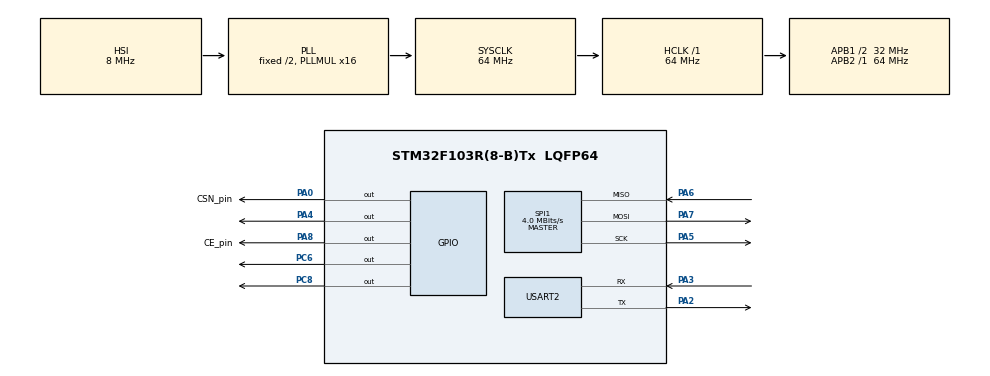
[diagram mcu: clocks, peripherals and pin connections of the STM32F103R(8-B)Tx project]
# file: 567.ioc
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Mcu.Family=STM32F1
Mcu.Name=STM32F103R(8-B)Tx
Mcu.Package=LQFP64
NVIC.PriorityGroup=NVIC_PRIORITYGROUP_4
PA0-WKUP.GPIO_Label=CSN_pin
PA0-WKUP.Signal=GPIO_Output
PA2.Mode=Asynchronous
PA2.Signal=USART2_TX
PA3.Mode=Asynchronous
PA3.Signal=USART2_RX
PA4.Signal=GPIO_Output
PA5.Mode=Full_Duplex_Master
PA5.Signal=SPI1_SCK
PA6.Mode=Full_Duplex_Master
PA6.Signal=SPI1_MISO
PA7.Mode=Full_Duplex_Master
PA7.Signal=SPI1_MOSI
PA8.GPIO_Label=CE_pin
PA8.Signal=GPIO_Output
PC6.Signal=GPIO_Output
PC8.Signal=GPIO_Output
PD0-OSC_IN.Mode=HSE-External-Oscillator
PD0-OSC_IN.Signal=RCC_OSC_IN
PD1-OSC_OUT.Mode=HSE-External-Oscillator
PD1-OSC_OUT.Signal=RCC_OSC_OUT
ProjectManager.HeapSize=0x200
ProjectManager.StackSize=0x400
ProjectManager.TargetToolchain=STM32CubeIDE
RCC.AHBFreq_Value=64000000
RCC.APB1CLKDivider=RCC_HCLK_DIV2
RCC.APB1Freq_Value=32000000
RCC.APB1TimFreq_Value=64000000
RCC.APB2Freq_Value=64000000
RCC.APB2TimFreq_Value=64000000
RCC.HCLKFreq_Value=64000000
RCC.PLLMUL=RCC_PLL_MUL16
RCC.RTCClockSelection=RCC_RTCCLKSOURCE_LSE
RCC.SYSCLKFreq_VALUE=64000000
RCC.SYSCLKSource=RCC_SYSCLKSOURCE_PLLCLK
RCC.USBFreq_Value=64000000
SPI1.BaudRatePrescaler=SPI_BAUDRATEPRESCALER_16
SPI1.CalculateBaudRate=4.0 MBits/s
SPI1.Direction=SPI_DIRECTION_2LINES
SPI1.Mode=SPI_MODE_MASTER
SPI1.VirtualType=VM_MASTER
USART2.VirtualMode=VM_ASYNC
VP_SYS_VS_ND.Mode=No_Debug
board=NUCLEO-F103RB

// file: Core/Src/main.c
/* USER CODE BEGIN Header */
/**
  ******************************************************************************
  * @file           : main.c
  * @brief          : Main program body
  ******************************************************************************
  * @attention
  *
  * Copyright (c) 2025 STMicroelectronics.
  * All rights reserved.
  *
  * This software is licensed under terms that can be found in the LICENSE file
  * in the root directory of this software component.
  * If no LICENSE file comes with this software, it is provided AS-IS.
  *
  ******************************************************************************
  */
/* USER CODE END Header */
#include "main.h"
#include "spi.h"
#include "usart.h"
#include "gpio.h"

/* USER CODE BEGIN Includes */
#include "NRF24.h"
#include "NRF24_conf.h"
#include "string.h"
#include "stdio.h"
#include "NRF24_reg_addresses.h"
#define PAYLOAD_SIZE 2
#define EXPECTED_CH 40
#define CH 40

extern const uint8_t NRF24_ADDR[5];
void debug_check_channel(void);
void debug_dump_settings(void);   // ← 이 줄을 추가!

/* USER CODE END Includes */

void SystemClock_Config(void);

/* USER CODE BEGIN 0 */
void nrf24_receiver_setup(void)
{

	  // 1) PWR-DOWN 상태에서 시작
	uint8_t rx_address[5] = {0xE7, 0xE7, 0xE7, 0xE7, 0xE7}; // 수신기 주소

	ce_low();
	    nrf24_pwr_up();
	    HAL_Delay(5);

	    // CONFIG 설정
	    uint8_t cfg = nrf24_r_reg(CONFIG,1);
	    cfg |= (1<<PWR_UP)|(1<<PRIM_RX);
	    nrf24_w_reg(CONFIG,&cfg,1);
	    HAL_Delay(1);

	    // 채널
	    nrf24_w_reg(RF_CH,    (uint8_t[]){40}, 1);

	    // 파이프0 활성화 + ACK
	    nrf24_w_reg(EN_RXADDR,(uint8_t[]){0x01},1);
	    nrf24_auto_ack(0, enable);

	    nrf24_w_reg(RX_PW_P0, (uint8_t[]){2}, 1);   //

	        nrf24_open_rx_pipe(0, rx_address);
	    // raw 읽기

	       // 6) 전원 올리고 듣기 모드 진입

	     //  printf("Before listen: CONFIG=0x%02X (PRIM_RX=%u)\r\n",
	       //       nrf24_r_reg(CONFIG,1), nrf24_r_reg(CONFIG,1)&1);

	      // printf(" After listen: CONFIG=0x%02X (PRIM_RX=%u)\r\n",
	        //      nrf24_r_reg(CONFIG,1), nrf24_r_reg(CONFIG,1)&1);

	       debug_check_channel();       // RAW RF_CH = 40 …
	           debug_dump_settings();       // RF_CH = 40, RX_ADDR_P0 = E7…
	           ce_high();

	        }

void debug_check_channel(void) {
	uint8_t cmd = R_REGISTER | RF_CH;
	    uint8_t buf[2] = { cmd, NOP_CMD };   // NOP_CMD = 0xFF
	    uint8_t rx[2]  = { 0 };

	    csn_low();
	      // 한 번에 두 바이트 교환
	      HAL_SPI_TransmitReceive(&hspi1, buf, rx, 2, spi_rw_timeout);
	    csn_high();

	    // rx[0] 에는 STATUS, rx[1] 에는 RF_CH 레지스터 값
	    printf("RAW RF_CH = %u (STATUS=0x%02X)\n", rx[1], rx[0]);
}
void debug_dump_settings(void) {
    uint8_t ch   = nrf24_r_reg(RF_CH,      1);
    uint8_t pw   = nrf24_r_reg(RX_PW_P0,   1);
    uint8_t addr[5] = {0};

    // *정확히* RX_ADDR_P0 레지스터(0x0A)부터 5바이트 읽으려면:
    csn_low();
      uint8_t cmd = R_REGISTER | RX_ADDR_P0;
      HAL_SPI_Transmit(&hspi1, &cmd, 1, spi_w_timeout);
      HAL_SPI_Receive (&hspi1, addr, 5, spi_r_timeout);
    csn_high();

    printf("=== DEBUG SETTINGS ===\r\n");
    printf(" RF_CH       = %u\r\n", ch);
    printf(" RX_PW_P0    = %u bytes\r\n", pw);
    printf(" RX_ADDR_P0  = %02X %02X %02X %02X %02X\r\n",
           addr[0], addr[1], addr[2], addr[3], addr[4]);
    printf("======================\r\n");
}
void receive_data(void)
{

	  if (!nrf24_data_available()) {
	        return;
	    }

	    // 2바이트 읽고 문자열 종료
	    uint8_t buf[PAYLOAD_SIZE+1] = {0};
	    nrf24_receive(buf, PAYLOAD_SIZE);
	    buf[PAYLOAD_SIZE] = '\0';

	    // 출력
	    printf("Received: %s\r\n", buf);

            // 수신된 데이터가 "hi"와 일치하는지 확인
            if (strcmp((char*)buf, "hi") == 0) {
                // 수신된 데이터가 "hi"이면 PC8 LED 켜기
                HAL_GPIO_WritePin(GPIOC, GPIO_PIN_8, GPIO_PIN_SET);  // PC8 LED 켜기
                HAL_GPIO_WritePin(GPIOC, GPIO_PIN_6, GPIO_PIN_RESET);  // PC6 LED 끄기
                printf("성공");
            } else {
                // 수신된 데이터가 "hi"가 아니면 PC6 LED 켜기
                HAL_GPIO_WritePin(GPIOC, GPIO_PIN_6, GPIO_PIN_SET);  // PC6 LED 켜기
                HAL_GPIO_WritePin(GPIOC, GPIO_PIN_8, GPIO_PIN_RESET);  // PC8 LED 끄기
                printf("실패");
            }

            nrf24_clear_rx_dr();
              nrf24_flush_rx();

}

int __io_putchar(int ch)
{
    HAL_UART_Transmit(&huart2, (uint8_t *)&ch, 1, HAL_MAX_DELAY);  // UART2로 데이터 전송
    return ch;
}
/* USER CODE END 0 */

int main(void)
{

  /* MCU Configuration--------------------------------------------------------*/

  /* Reset of all peripherals, Initializes the Flash interface and the Systick. */
  HAL_Init();

  /* Configure the system clock */
  SystemClock_Config();

  /* Initialize all configured peripherals */
  MX_GPIO_Init();
  MX_SPI1_Init();
  MX_USART2_UART_Init();
  /* USER CODE BEGIN 2 */
 nrf24_receiver_setup();

   // 결과 출력

  /* USER CODE END 2 */

  /* Infinite loop */
  while (1)
  {

    /* USER CODE BEGIN 3 */
	  receive_data();  // 데이터 수신 시도
	 	  if (nrf24_data_available())
	 	       receive_data();       // 실제로 "hi" 를 수신하면 LED 켜고 printf
	 	     // }
	 	  //debug_check_channel();
	 	          HAL_Delay(100);  // 짧은 지연
  }
  /* USER CODE END 3 */
}

void SystemClock_Config(void)
{
  RCC_OscInitTypeDef RCC_OscInitStruct = {0};
  RCC_ClkInitTypeDef RCC_ClkInitStruct = {0};

  /** Initializes the RCC Oscillators according to the specified parameters
  * in the RCC_OscInitTypeDef structure.
  */
  RCC_OscInitStruct.OscillatorType = RCC_OSCILLATORTYPE_HSI;
  RCC_OscInitStruct.HSIState = RCC_HSI_ON;
  RCC_OscInitStruct.HSICalibrationValue = RCC_HSICALIBRATION_DEFAULT;
  RCC_OscInitStruct.PLL.PLLState = RCC_PLL_ON;
  RCC_OscInitStruct.PLL.PLLSource = RCC_PLLSOURCE_HSI_DIV2;
  RCC_OscInitStruct.PLL.PLLMUL = RCC_PLL_MUL16;
  if (HAL_RCC_OscConfig(&RCC_OscInitStruct) != HAL_OK)
  {
    Error_Handler();
  }

  /** Initializes the CPU, AHB and APB buses clocks
  */
  RCC_ClkInitStruct.ClockType = RCC_CLOCKTYPE_HCLK|RCC_CLOCKTYPE_SYSCLK
                              |RCC_CLOCKTYPE_PCLK1|RCC_CLOCKTYPE_PCLK2;
  RCC_ClkInitStruct.SYSCLKSource = RCC_SYSCLKSOURCE_PLLCLK;
  RCC_ClkInitStruct.AHBCLKDivider = RCC_SYSCLK_DIV1;
  RCC_ClkInitStruct.APB1CLKDivider = RCC_HCLK_DIV2;
  RCC_ClkInitStruct.APB2CLKDivider = RCC_HCLK_DIV1;

  if (HAL_RCC_ClockConfig(&RCC_ClkInitStruct, FLASH_LATENCY_2) != HAL_OK)
  {
    Error_Handler();
  }
}

void Error_Handler(void)
{
  __disable_irq();
  while (1)
  {
  }
}
